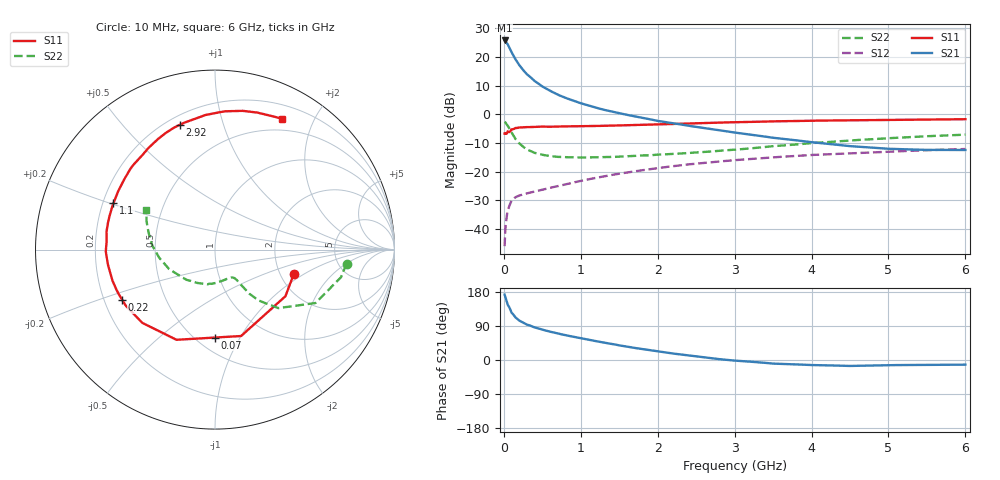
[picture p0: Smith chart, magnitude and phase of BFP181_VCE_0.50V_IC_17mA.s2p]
! Infineon Technologies  Discrete & RF Semiconductors
! BFP181
! VCE = 0.50V,  IC =  17 mA
! Common Emitter S-Parameters:  Jan 2016
# GHz  S  MA  R  50
!  f  S11  S21  S12  S22
! GHz  MAG  ANG  MAG  ANG  MAG  ANG  MAG  ANG
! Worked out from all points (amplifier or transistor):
!   210 points, 10 MHz to 6 GHz, reference 50 ohm
!   highest |S21| = 25.7 dB at 10 MHz (marker M1)
!   |S21| within 3 dB of that: start of sweep to 79.66 MHz
!   unconditionally stable (mu >= 1): start of sweep to 19.89 MHz; 189.5 MHz to end of sweep
!   at 185 MHz: K = 0.98, MSG = 23.2 dB, |S12| = -28.5 dB
!   at 1.52 GHz: K = 2.94, MAG = 2.9 dB, |S12| = -20.7 dB
!   at 6 GHz: K = 2.55, MAG = -7.1 dB, |S12| = -12.1 dB
!   S11 on the Smith chart (normalised r, x): 10 MHz: 2.37, -0.82; 70 MHz: 0.61, -0.79; 220 MHz: 0.28, -0.24; 1.1 GHz: 0.24, +0.21; 2.92 GHz: 0.25, +0.73; 6 GHz: 0.36, +1.58
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0.01  0.4597 -17.2  19.38 172.6  0.005 73.5  0.737 -6.1
0.02  0.4706 -33.5  19.1 165.4  0.0101 71.9  0.7191 -12.3
0.05  0.5029 -73.2  16.64 146.1  0.0211 61.1  0.6342 -28.0
0.07  0.4899 -89.8  14.61 139.2  0.0249 52.6  0.5682 -32.9
0.1  0.5463 -113.1  12.11 125.0  0.0312 43.9  0.4797 -42.8
0.15  0.5751 -134.8  9.129 112.2  0.0357 37.5  0.3731 -49.4
0.2  0.5872 -148.0  7.222 104.1  0.0382 34.8  0.3116 -52.1
0.22  0.5878 -151.5  6.685 101.9  0.0389 34.3  0.2953 -52.4
0.26  0.5929 -157.9  5.717 97.2  0.0403 33.7  0.2653 -53.1
0.3  0.5969 -163.2  4.988 93.4  0.0417 34.2  0.243 -53.7
0.4  0.6024 -172.1  3.804 85.9  0.0446 35.8  0.2121 -54.2
0.5  0.6086 -179.0  3.054 80.0  0.0481 37.2  0.1961 -55.2
0.7  0.6127 170.6  2.194 69.9  0.0557 41.5  0.1806 -59.1
1.02  0.6195 158.2  1.529 56.6  0.0697 44.7  0.1763 -68.0
1.1  0.6222 155.4  1.418 53.3  0.0735 45.3  0.1768 -70.6
1.5  0.6391 142.7  1.039 38.6  0.0917 45.7  0.1819 -84.3
2.02  0.6639 127.6  0.759 22.4  0.116 43.1  0.1986 -103.4
2.92  0.7225 105.7  0.498 0.0  0.1549 35.5  0.2365 -138.0
3.1  0.7303 101.9  0.461 -2.9  0.162 33.7  0.2467 -144.6
4.1  0.7746 84.5  0.316 -13.7  0.1973 23.5  0.3198 -174.2
5.1  0.8 71.8  0.248 -13.4  0.2249 14.1  0.3876 163.9
6  0.8197 62.8  0.238 -12.3  0.2473 5.3  0.4411 150.0
